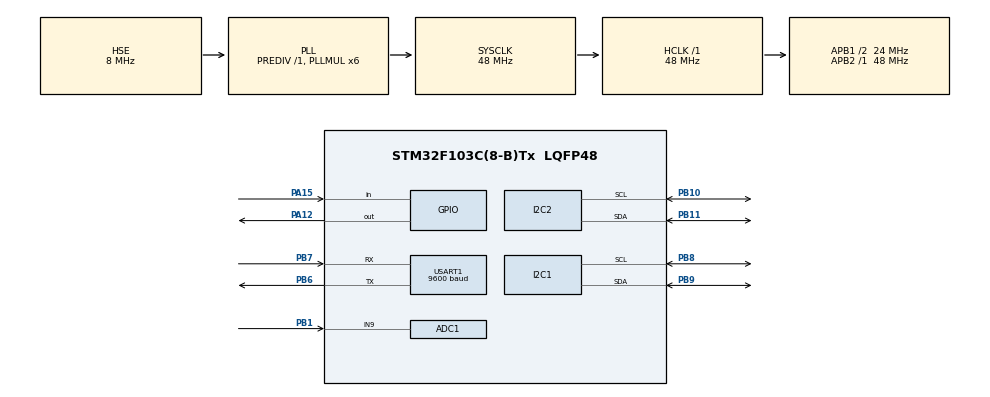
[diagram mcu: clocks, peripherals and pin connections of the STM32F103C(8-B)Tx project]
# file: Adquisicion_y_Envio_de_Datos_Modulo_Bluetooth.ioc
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ADC1.Channel-0\#ChannelRegularConversion=ADC_CHANNEL_9
ADC1.NbrOfConversionFlag=1
ADC1.Rank-0\#ChannelRegularConversion=1
ADC1.SamplingTime-0\#ChannelRegularConversion=ADC_SAMPLETIME_1CYCLE_5
ADC1.master=1
Mcu.Family=STM32F1
Mcu.Name=STM32F103C(8-B)Tx
Mcu.Package=LQFP48
NVIC.ADC1_2_IRQn=true\:0\:0\:false\:false\:true\:true\:true\:true
NVIC.PriorityGroup=NVIC_PRIORITYGROUP_4
NVIC.TIM2_IRQn=true\:0\:0\:false\:false\:true\:true\:true\:true
NVIC.TIM3_IRQn=true\:0\:0\:false\:false\:true\:true\:true\:true
PA12.GPIO_Speed=GPIO_SPEED_FREQ_HIGH
PA12.Signal=GPIO_Output
PA13.Mode=Serial_Wire
PA13.Signal=SYS_JTMS-SWDIO
PA14.Mode=Serial_Wire
PA14.Signal=SYS_JTCK-SWCLK
PA15.GPIO_PuPd=GPIO_PULLUP
PA15.Signal=GPIO_Input
PB1.Signal=ADCx_IN9
PB10.Mode=I2C
PB10.Signal=I2C2_SCL
PB11.Mode=I2C
PB11.Signal=I2C2_SDA
PB6.Mode=Asynchronous
PB6.Signal=USART1_TX
PB7.Mode=Asynchronous
PB7.Signal=USART1_RX
PB8.Mode=I2C
PB8.Signal=I2C1_SCL
PB9.Mode=I2C
PB9.Signal=I2C1_SDA
PD0-OSC_IN.Mode=HSE-External-Oscillator
PD0-OSC_IN.Signal=RCC_OSC_IN
PD1-OSC_OUT.Mode=HSE-External-Oscillator
PD1-OSC_OUT.Signal=RCC_OSC_OUT
ProjectManager.HeapSize=0x200
ProjectManager.StackSize=0x400
ProjectManager.TargetToolchain=STM32CubeIDE
RCC.ADCPresc=RCC_ADCPCLK2_DIV6
RCC.AHBFreq_Value=48000000
RCC.APB1CLKDivider=RCC_HCLK_DIV2
RCC.APB1Freq_Value=24000000
RCC.APB1TimFreq_Value=48000000
RCC.APB2Freq_Value=48000000
RCC.APB2TimFreq_Value=48000000
RCC.HCLKFreq_Value=48000000
RCC.PLLMUL=RCC_PLL_MUL6
RCC.PLLSourceVirtual=RCC_PLLSOURCE_HSE
RCC.SYSCLKFreq_VALUE=48000000
RCC.SYSCLKSource=RCC_SYSCLKSOURCE_PLLCLK
RCC.USBFreq_Value=48000000
RTC.Date=1
RTC.Hours=21
RTC.Minutes=30
RTC.Month=RTC_MONTH_NOVEMBER
RTC.WeekDay=RTC_WEEKDAY_TUESDAY
RTC.Year=22
SH.ADCx_IN9.0=ADC1_IN9,IN9
TIM1.Prescaler=48
TIM2.Period=59999
TIM2.Prescaler=48000
TIM3.Period=999
TIM3.Prescaler=48
USART1.BaudRate=9600
USART1.VirtualMode=VM_ASYNC
VP_RTC_VS_RTC_Activate.Mode=RTC_Enabled
VP_RTC_VS_RTC_Calendar.Mode=RTC_Calendar
VP_TIM1_VS_ClockSourceINT.Mode=Internal
VP_TIM2_VS_ClockSourceINT.Mode=Internal
VP_TIM3_VS_ClockSourceINT.Mode=Internal
board=custom

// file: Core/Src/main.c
/* USER CODE BEGIN Header */
/**
  ******************************************************************************
  * @file           : main.c
  * @brief          : Main program body
  ******************************************************************************
  * @attention
  *
  * Copyright (c) 2022 STMicroelectronics.
  * All rights reserved.
  *
  * This software is licensed under terms that can be found in the LICENSE file
  * in the root directory of this software component.
  * If no LICENSE file comes with this software, it is provided AS-IS.
  *
  ******************************************************************************
  */
/* USER CODE END Header */
#include "main.h"

/* USER CODE BEGIN Includes */
#include "AHT10.h"
#include "BMP180.h"
#include "HX711.h"
#include "RTC.h"
#include "veleta.h"
#include "serial.h"
/* USER CODE END Includes */

/* USER CODE BEGIN PTD */
/* Definimos una estructura para guardar los datos meteorológicos adquiridos */
typedef struct METEO_DATA {
	float temp;
	float humrel;
	float pres;
	float velviento;
	uint8_t dirviento;
	float precip;
} METEO_DATA;

/* USER CODE END PTD */

ADC_HandleTypeDef hadc1;

I2C_HandleTypeDef hi2c1;
I2C_HandleTypeDef hi2c2;

RTC_HandleTypeDef hrtc;

TIM_HandleTypeDef htim1;
TIM_HandleTypeDef htim2;
TIM_HandleTypeDef htim3;

UART_HandleTypeDef huart1;

/* USER CODE BEGIN PV */
_Bool flag_adquisicion=0; // Variable bandera que se pone en 1 cuando interrumpe el TIM2 cada 5 min
_Bool flag_muestras=0; // Variable bandera que se pone en 1 cuando interrumpe por OC el CH1 del TIM3, cada 1 ms
_Bool flag_conversion=0; // Variable bandera que se activa cuando finaliza la conversión del ADC
float pp24=0; // Precipitación acumulada en 24 h (día calendario, desde las 0:00 hasta las 24:00)
float pp[100]; // Vector para ir guardando las lecturas del pluviómetro
/* USER CODE END PV */

void SystemClock_Config(void);
static void MX_GPIO_Init(void);
static void MX_ADC1_Init(void);
static void MX_I2C1_Init(void);
static void MX_I2C2_Init(void);
static void MX_TIM1_Init(void);
static void MX_TIM2_Init(void);
static void MX_TIM3_Init(void);
static void MX_USART1_UART_Init(void);
static void MX_RTC_Init(void);
/* USER CODE BEGIN PFP */
void Adquirir_Datos(METEO_DATA*);
void Enviar_Datos(METEO_DATA*);
/* USER CODE END PFP */

/* USER CODE BEGIN 0 */
void HAL_TIM_PeriodElapsedCallback(TIM_HandleTypeDef *htim){

	if(htim->Instance == TIM2){
		flag_adquisicion=1;
	}
	else if(htim->Instance == TIM3){
		flag_muestras=1;
	}

}

void HAL_TIM_OC_DelayElapsedCallback(TIM_HandleTypeDef *htim){

	uint32_t pulse;
	if(htim->Instance == TIM2){
		pulse = HAL_TIM_ReadCapturedValue(htim, TIM_CHANNEL_1);
		if(__HAL_TIM_GET_AUTORELOAD(htim)>(pulse+5000)){
			__HAL_TIM_SET_COMPARE(htim,TIM_CHANNEL_1,(pulse+(5000)));
		}
		else {
			__HAL_TIM_SET_COMPARE(htim,TIM_CHANNEL_1,4999);
		}
	}

}

void HAL_ADC_ConvCpltCallback(ADC_HandleTypeDef *hadc){

	flag_conversion=1;
}

void Adquirir_Datos(METEO_DATA *data){

	AHT10_DATA tempyhum; // Variable para guardar los datos leídos de temperatura y humedad del AHT10
	float volprom; // Tensión analógica promedio de la veleta
	uint8_t dviento; // Dirección del viento

	/* Leemos primero el dato actual de temperatura y actual del sensor AHT10. En este caso, tomamos una
	 * sola muestra de temperatura y humedad */
	tempyhum=AHT10_Read();
	data->temp=tempyhum.tcelsius; // Temperatura actual (en °C)
	data->humrel=tempyhum.hr; // Humedad relativa (en %)

	/* Ahora leemos el dato de presión atmosférica proveniente del sensor BMP180. Al igual que antes,
	 * tomamos una única muestra de presión atmosférica sin hacer ningún promedio */
	data->pres=BMP180_Get_TruePressure(BMP180_STANDARD); // Presión atmosférica (en hPa)

	/* Obtenemos ahora la precipitación acumulada mediante una lectura del pluviómetro */
	data->precip=Leer_Pluviometro(); // Precipitación acumulada (en mm)

	/* Obtenemos la dirección del viento a partir de la tensión analógica muestreada de la veleta. Se hace
	 * un promedio de 50 o 100 muestras de tensión analógica tomadas cada 1 ms */
	volprom=Prom_Muestras_Veleta(100);
	dviento=Detectar_Dir_Viento(volprom);
	data->dirviento=dviento;
}

void Enviar_Datos(METEO_DATA *data){

	FECHA fechaactual;
	HORA horaactual;
	/* Enviamos primero la fecha y hora actuales */
	fechaactual=Obtener_Fecha_Actual();
	horaactual=Obtener_Hora_Actual();
	Enviar_Fecha_Actual(&fechaactual,'F');
	Enviar_Hora_Actual(&horaactual,'I');

	/* Enviamos ahora los datos meteorológicos adquiridos */
	Enviar_Dato_Float(data->temp,'T',2); // Temperatura (2 dígitos significativos)
	Enviar_Dato_Float(data->humrel,'H',2); // Humedad relativa (2 dígitos significativos)
	Enviar_Dato_Float(data->pres,'P',4); // Presión atmosférica (4 dígitos significativos)
	Enviar_Dir_Viento(data->dirviento); // Dirección del viento
	Enviar_Dato_Float(data->precip,'L',3); // Precipitación acumulada (3 dígitos significativos)

}

/* USER CODE END 0 */

int main(void)
{

  /* MCU Configuration--------------------------------------------------------*/

  /* Reset of all peripherals, Initializes the Flash interface and the Systick. */
  HAL_Init();

  /* Configure the system clock */
  SystemClock_Config();

  /* Initialize all configured peripherals */
  MX_GPIO_Init();
  MX_ADC1_Init();
  MX_I2C1_Init();
  MX_I2C2_Init();
  MX_TIM1_Init();
  MX_TIM2_Init();
  MX_TIM3_Init();
  MX_USART1_UART_Init();
  MX_RTC_Init();
  /* USER CODE BEGIN 2 */

  /* Obtenemos los coeficientes de calibración del sensor BMP180 para el cálculo de la presión */
  BMP180_Get_AllCalCoef();
  /* Función para calibrar el pluviómetro utilizando un peso conocido (en este caso, un peso de agua conocido) */
  HX711_Set_Scale(20);

  /* Inicializamos el timer TIM2, el cual generará la demora necesaria para la adquisición de datos */
  HAL_TIM_Base_Start_IT(&htim2);

  METEO_DATA datos;

  /* USER CODE END 2 */

  /* Infinite loop */
  while (1)
  {

    /* USER CODE BEGIN 3 */
	  if(flag_adquisicion==1){
		  flag_adquisicion=0;
		  Adquirir_Datos(&datos);
		  Enviar_Datos(&datos);
	  }
  }
  /* USER CODE END 3 */
}

void SystemClock_Config(void)
{
  RCC_OscInitTypeDef RCC_OscInitStruct = {0};
  RCC_ClkInitTypeDef RCC_ClkInitStruct = {0};
  RCC_PeriphCLKInitTypeDef PeriphClkInit = {0};

  /** Initializes the RCC Oscillators according to the specified parameters
  * in the RCC_OscInitTypeDef structure.
  */
  RCC_OscInitStruct.OscillatorType = RCC_OSCILLATORTYPE_LSI|RCC_OSCILLATORTYPE_HSE;
  RCC_OscInitStruct.HSEState = RCC_HSE_ON;
  RCC_OscInitStruct.HSEPredivValue = RCC_HSE_PREDIV_DIV1;
  RCC_OscInitStruct.HSIState = RCC_HSI_ON;
  RCC_OscInitStruct.LSIState = RCC_LSI_ON;
  RCC_OscInitStruct.PLL.PLLState = RCC_PLL_ON;
  RCC_OscInitStruct.PLL.PLLSource = RCC_PLLSOURCE_HSE;
  RCC_OscInitStruct.PLL.PLLMUL = RCC_PLL_MUL6;
  if (HAL_RCC_OscConfig(&RCC_OscInitStruct) != HAL_OK)
  {
    Error_Handler();
  }

  /** Initializes the CPU, AHB and APB buses clocks
  */
  RCC_ClkInitStruct.ClockType = RCC_CLOCKTYPE_HCLK|RCC_CLOCKTYPE_SYSCLK
                              |RCC_CLOCKTYPE_PCLK1|RCC_CLOCKTYPE_PCLK2;
  RCC_ClkInitStruct.SYSCLKSource = RCC_SYSCLKSOURCE_PLLCLK;
  RCC_ClkInitStruct.AHBCLKDivider = RCC_SYSCLK_DIV1;
  RCC_ClkInitStruct.APB1CLKDivider = RCC_HCLK_DIV2;
  RCC_ClkInitStruct.APB2CLKDivider = RCC_HCLK_DIV1;

  if (HAL_RCC_ClockConfig(&RCC_ClkInitStruct, FLASH_LATENCY_1) != HAL_OK)
  {
    Error_Handler();
  }
  PeriphClkInit.PeriphClockSelection = RCC_PERIPHCLK_RTC|RCC_PERIPHCLK_ADC;
  PeriphClkInit.RTCClockSelection = RCC_RTCCLKSOURCE_LSI;
  PeriphClkInit.AdcClockSelection = RCC_ADCPCLK2_DIV6;
  if (HAL_RCCEx_PeriphCLKConfig(&PeriphClkInit) != HAL_OK)
  {
    Error_Handler();
  }
}

static void MX_ADC1_Init(void)
{

  ADC_ChannelConfTypeDef sConfig = {0};

  /** Common config
  */
  hadc1.Instance = ADC1;
  hadc1.Init.ScanConvMode = ADC_SCAN_DISABLE;
  hadc1.Init.ContinuousConvMode = DISABLE;
  hadc1.Init.DiscontinuousConvMode = DISABLE;
  hadc1.Init.ExternalTrigConv = ADC_SOFTWARE_START;
  hadc1.Init.DataAlign = ADC_DATAALIGN_RIGHT;
  hadc1.Init.NbrOfConversion = 1;
  if (HAL_ADC_Init(&hadc1) != HAL_OK)
  {
    Error_Handler();
  }

  /** Configure Regular Channel
  */
  sConfig.Channel = ADC_CHANNEL_9;
  sConfig.Rank = ADC_REGULAR_RANK_1;
  sConfig.SamplingTime = ADC_SAMPLETIME_1CYCLE_5;
  if (HAL_ADC_ConfigChannel(&hadc1, &sConfig) != HAL_OK)
  {
    Error_Handler();
  }

}

static void MX_I2C1_Init(void)
{

  hi2c1.Instance = I2C1;
  hi2c1.Init.ClockSpeed = 100000;
  hi2c1.Init.DutyCycle = I2C_DUTYCYCLE_2;
  hi2c1.Init.OwnAddress1 = 0;
  hi2c1.Init.AddressingMode = I2C_ADDRESSINGMODE_7BIT;
  hi2c1.Init.DualAddressMode = I2C_DUALADDRESS_DISABLE;
  hi2c1.Init.OwnAddress2 = 0;
  hi2c1.Init.GeneralCallMode = I2C_GENERALCALL_DISABLE;
  hi2c1.Init.NoStretchMode = I2C_NOSTRETCH_DISABLE;
  if (HAL_I2C_Init(&hi2c1) != HAL_OK)
  {
    Error_Handler();
  }

}

static void MX_I2C2_Init(void)
{

  hi2c2.Instance = I2C2;
  hi2c2.Init.ClockSpeed = 100000;
  hi2c2.Init.DutyCycle = I2C_DUTYCYCLE_2;
  hi2c2.Init.OwnAddress1 = 0;
  hi2c2.Init.AddressingMode = I2C_ADDRESSINGMODE_7BIT;
  hi2c2.Init.DualAddressMode = I2C_DUALADDRESS_DISABLE;
  hi2c2.Init.OwnAddress2 = 0;
  hi2c2.Init.GeneralCallMode = I2C_GENERALCALL_DISABLE;
  hi2c2.Init.NoStretchMode = I2C_NOSTRETCH_DISABLE;
  if (HAL_I2C_Init(&hi2c2) != HAL_OK)
  {
    Error_Handler();
  }

}

static void MX_RTC_Init(void)
{

  RTC_TimeTypeDef sTime = {0};
  RTC_DateTypeDef DateToUpdate = {0};

  /** Initialize RTC Only
  */
  hrtc.Instance = RTC;
  hrtc.Init.AsynchPrediv = RTC_AUTO_1_SECOND;
  hrtc.Init.OutPut = RTC_OUTPUTSOURCE_ALARM;
  if (HAL_RTC_Init(&hrtc) != HAL_OK)
  {
    Error_Handler();
  }

  /** Initialize RTC and set the Time and Date
  */
  sTime.Hours = 0x24;
  sTime.Minutes = 0x30;
  sTime.Seconds = 0x0;

  if (HAL_RTC_SetTime(&hrtc, &sTime, RTC_FORMAT_BCD) != HAL_OK)
  {
    Error_Handler();
  }
  DateToUpdate.WeekDay = RTC_WEEKDAY_TUESDAY;
  DateToUpdate.Month = RTC_MONTH_NOVEMBER;
  DateToUpdate.Date = 0x1;
  DateToUpdate.Year = 0x22;

  if (HAL_RTC_SetDate(&hrtc, &DateToUpdate, RTC_FORMAT_BCD) != HAL_OK)
  {
    Error_Handler();
  }

}

static void MX_TIM1_Init(void)
{

  TIM_ClockConfigTypeDef sClockSourceConfig = {0};
  TIM_MasterConfigTypeDef sMasterConfig = {0};

  htim1.Instance = TIM1;
  htim1.Init.Prescaler = 48;
  htim1.Init.CounterMode = TIM_COUNTERMODE_UP;
  htim1.Init.Period = 65535;
  htim1.Init.ClockDivision = TIM_CLOCKDIVISION_DIV1;
  htim1.Init.RepetitionCounter = 0;
  htim1.Init.AutoReloadPreload = TIM_AUTORELOAD_PRELOAD_DISABLE;
  if (HAL_TIM_Base_Init(&htim1) != HAL_OK)
  {
    Error_Handler();
  }
  sClockSourceConfig.ClockSource = TIM_CLOCKSOURCE_INTERNAL;
  if (HAL_TIM_ConfigClockSource(&htim1, &sClockSourceConfig) != HAL_OK)
  {
    Error_Handler();
  }
  sMasterConfig.MasterOutputTrigger = TIM_TRGO_RESET;
  sMasterConfig.MasterSlaveMode = TIM_MASTERSLAVEMODE_DISABLE;
  if (HAL_TIMEx_MasterConfigSynchronization(&htim1, &sMasterConfig) != HAL_OK)
  {
    Error_Handler();
  }

}

static void MX_TIM2_Init(void)
{

  TIM_ClockConfigTypeDef sClockSourceConfig = {0};
  TIM_MasterConfigTypeDef sMasterConfig = {0};

  htim2.Instance = TIM2;
  htim2.Init.Prescaler = 48000;
  htim2.Init.CounterMode = TIM_COUNTERMODE_UP;
  htim2.Init.Period = 59999;
  htim2.Init.ClockDivision = TIM_CLOCKDIVISION_DIV1;
  htim2.Init.AutoReloadPreload = TIM_AUTORELOAD_PRELOAD_DISABLE;
  if (HAL_TIM_Base_Init(&htim2) != HAL_OK)
  {
    Error_Handler();
  }
  sClockSourceConfig.ClockSource = TIM_CLOCKSOURCE_INTERNAL;
  if (HAL_TIM_ConfigClockSource(&htim2, &sClockSourceConfig) != HAL_OK)
  {
    Error_Handler();
  }
  sMasterConfig.MasterOutputTrigger = TIM_TRGO_RESET;
  sMasterConfig.MasterSlaveMode = TIM_MASTERSLAVEMODE_DISABLE;
  if (HAL_TIMEx_MasterConfigSynchronization(&htim2, &sMasterConfig) != HAL_OK)
  {
    Error_Handler();
  }

}

static void MX_TIM3_Init(void)
{

  TIM_ClockConfigTypeDef sClockSourceConfig = {0};
  TIM_MasterConfigTypeDef sMasterConfig = {0};

  htim3.Instance = TIM3;
  htim3.Init.Prescaler = 48;
  htim3.Init.CounterMode = TIM_COUNTERMODE_UP;
  htim3.Init.Period = 999;
  htim3.Init.ClockDivision = TIM_CLOCKDIVISION_DIV1;
  htim3.Init.AutoReloadPreload = TIM_AUTORELOAD_PRELOAD_DISABLE;
  if (HAL_TIM_Base_Init(&htim3) != HAL_OK)
  {
    Error_Handler();
  }
  sClockSourceConfig.ClockSource = TIM_CLOCKSOURCE_INTERNAL;
  if (HAL_TIM_ConfigClockSource(&htim3, &sClockSourceConfig) != HAL_OK)
  {
    Error_Handler();
  }
  sMasterConfig.MasterOutputTrigger = TIM_TRGO_RESET;
  sMasterConfig.MasterSlaveMode = TIM_MASTERSLAVEMODE_DISABLE;
  if (HAL_TIMEx_MasterConfigSynchronization(&htim3, &sMasterConfig) != HAL_OK)
  {
    Error_Handler();
  }

}

static void MX_USART1_UART_Init(void)
{

  huart1.Instance = USART1;
  huart1.Init.BaudRate = 9600;
  huart1.Init.WordLength = UART_WORDLENGTH_8B;
  huart1.Init.StopBits = UART_STOPBITS_1;
  huart1.Init.Parity = UART_PARITY_NONE;
  huart1.Init.Mode = UART_MODE_TX_RX;
  huart1.Init.HwFlowCtl = UART_HWCONTROL_NONE;
  huart1.Init.OverSampling = UART_OVERSAMPLING_16;
  if (HAL_UART_Init(&huart1) != HAL_OK)
  {
    Error_Handler();
  }

}

static void MX_GPIO_Init(void)
{
  GPIO_InitTypeDef GPIO_InitStruct = {0};

  /* GPIO Ports Clock Enable */
  __HAL_RCC_GPIOD_CLK_ENABLE();
  __HAL_RCC_GPIOB_CLK_ENABLE();
  __HAL_RCC_GPIOA_CLK_ENABLE();

  /*Configure GPIO pin Output Level */
  HAL_GPIO_WritePin(GPIOA, GPIO_PIN_12, GPIO_PIN_RESET);

  /*Configure GPIO pin : PA12 */
  GPIO_InitStruct.Pin = GPIO_PIN_12;
  GPIO_InitStruct.Mode = GPIO_MODE_OUTPUT_PP;
  GPIO_InitStruct.Pull = GPIO_NOPULL;
  GPIO_InitStruct.Speed = GPIO_SPEED_FREQ_HIGH;
  HAL_GPIO_Init(GPIOA, &GPIO_InitStruct);

  /*Configure GPIO pin : PA15 */
  GPIO_InitStruct.Pin = GPIO_PIN_15;
  GPIO_InitStruct.Mode = GPIO_MODE_INPUT;
  GPIO_InitStruct.Pull = GPIO_PULLUP;
  HAL_GPIO_Init(GPIOA, &GPIO_InitStruct);

}

void Error_Handler(void)
{
  __disable_irq();
  while (1)
  {
  }
}
